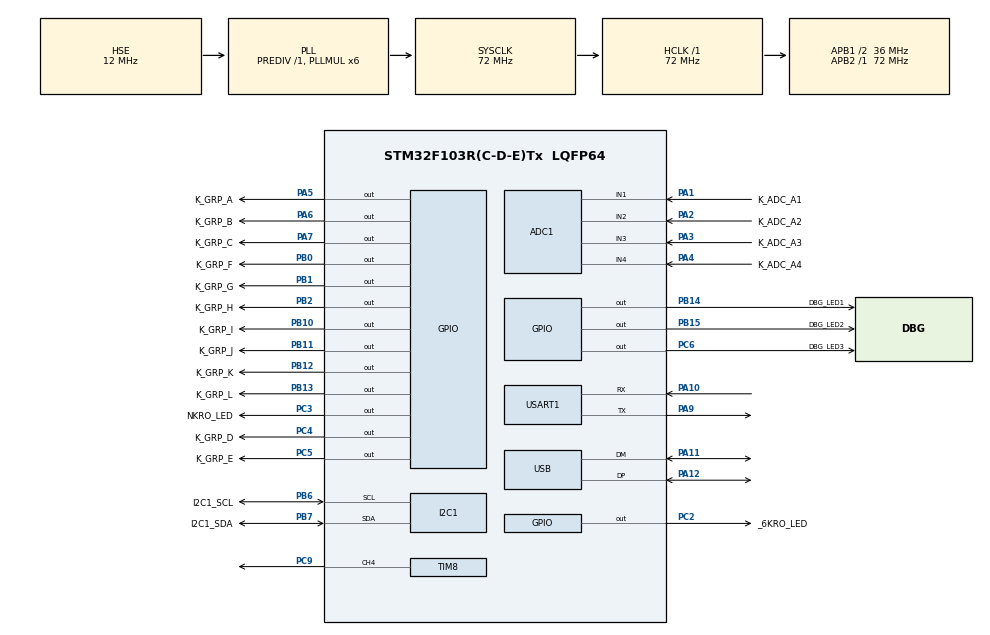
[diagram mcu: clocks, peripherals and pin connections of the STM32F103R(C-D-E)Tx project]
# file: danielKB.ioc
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ADC1.Channel-0\#ChannelRegularConversion=ADC_CHANNEL_1
ADC1.Channel-1\#ChannelRegularConversion=ADC_CHANNEL_2
ADC1.Channel-2\#ChannelRegularConversion=ADC_CHANNEL_3
ADC1.Channel-3\#ChannelRegularConversion=ADC_CHANNEL_4
ADC1.ContinuousConvMode=ENABLE
ADC1.NbrOfConversion=4
ADC1.NbrOfConversionFlag=1
ADC1.Rank-0\#ChannelRegularConversion=1
ADC1.Rank-1\#ChannelRegularConversion=2
ADC1.Rank-2\#ChannelRegularConversion=3
ADC1.Rank-3\#ChannelRegularConversion=4
ADC1.SamplingTime-0\#ChannelRegularConversion=ADC_SAMPLETIME_13CYCLES_5
ADC1.SamplingTime-1\#ChannelRegularConversion=ADC_SAMPLETIME_13CYCLES_5
ADC1.SamplingTime-2\#ChannelRegularConversion=ADC_SAMPLETIME_13CYCLES_5
ADC1.SamplingTime-3\#ChannelRegularConversion=ADC_SAMPLETIME_13CYCLES_5
ADC1.master=1
Dma.ADC1.0.Direction=DMA_PERIPH_TO_MEMORY
Dma.ADC1.0.Instance=DMA1_Channel1
Dma.ADC1.0.MemDataAlignment=DMA_MDATAALIGN_WORD
Dma.ADC1.0.MemInc=DMA_MINC_ENABLE
Dma.ADC1.0.Mode=DMA_CIRCULAR
Dma.ADC1.0.PeriphDataAlignment=DMA_PDATAALIGN_WORD
Dma.ADC1.0.PeriphInc=DMA_PINC_DISABLE
Dma.ADC1.0.Priority=DMA_PRIORITY_HIGH
Dma.Request0=ADC1
I2C1.I2C_Mode=I2C_Fast
Mcu.Family=STM32F1
Mcu.Name=STM32F103R(C-D-E)Tx
Mcu.Package=LQFP64
NVIC.ADC1_2_IRQn=true\:0\:0\:false\:false\:true\:true\:true\:true
NVIC.DMA1_Channel1_IRQn=true\:0\:0\:false\:false\:true\:false\:true\:true
NVIC.PriorityGroup=NVIC_PRIORITYGROUP_4
NVIC.TIM6_IRQn=true\:1\:0\:true\:false\:true\:false\:true\:true
NVIC.TIM7_IRQn=true\:0\:0\:false\:false\:true\:true\:true\:true
NVIC.TimeBase=TIM6_IRQn
NVIC.TimeBaseIP=TIM6
NVIC.USART1_IRQn=true\:2\:0\:true\:false\:true\:true\:true\:true
NVIC.USB_LP_CAN1_RX0_IRQn=true\:2\:0\:true\:false\:true\:false\:true\:true
PA1.GPIO_Label=K_ADC_A1
PA1.Signal=ADCx_IN1
PA10.Mode=Asynchronous
PA10.Signal=USART1_RX
PA11.Mode=Device
PA11.Signal=USB_DM
PA12.Mode=Device
PA12.Signal=USB_DP
PA13.Mode=Serial_Wire
PA13.Signal=SYS_JTMS-SWDIO
PA14.Mode=Serial_Wire
PA14.Signal=SYS_JTCK-SWCLK
PA2.GPIO_Label=K_ADC_A2
PA2.Signal=ADCx_IN2
PA3.GPIO_Label=K_ADC_A3
PA3.Signal=ADCx_IN3
PA4.GPIO_Label=K_ADC_A4
PA4.Signal=ADCx_IN4
PA5.GPIO_Label=K_GRP_A
PA5.Signal=GPIO_Output
PA6.GPIO_Label=K_GRP_B
PA6.Signal=GPIO_Output
PA7.GPIO_Label=K_GRP_C
PA7.Signal=GPIO_Output
PA9.Mode=Asynchronous
PA9.Signal=USART1_TX
PB0.GPIO_Label=K_GRP_F
PB0.Signal=GPIO_Output
PB1.GPIO_Label=K_GRP_G
PB1.Signal=GPIO_Output
PB10.GPIO_Label=K_GRP_I
PB10.Signal=GPIO_Output
PB11.GPIO_Label=K_GRP_J
PB11.Signal=GPIO_Output
PB12.GPIO_Label=K_GRP_K
PB12.Signal=GPIO_Output
PB13.GPIO_Label=K_GRP_L
PB13.Signal=GPIO_Output
PB14.GPIO_Label=DBG_LED1
PB14.Signal=GPIO_Output
PB15.GPIO_Label=DBG_LED2
PB15.Signal=GPIO_Output
PB2.GPIO_Label=K_GRP_H
PB2.Signal=GPIO_Output
PB6.GPIO_Label=I2C1_SCL
PB6.Mode=I2C
PB6.Signal=I2C1_SCL
PB7.GPIO_Label=I2C1_SDA
PB7.Mode=I2C
PB7.Signal=I2C1_SDA
PC2.GPIO_Label=_6KRO_LED
PC2.Signal=GPIO_Output
PC3.GPIO_Label=NKRO_LED
PC3.Signal=GPIO_Output
PC4.GPIO_Label=K_GRP_D
PC4.Signal=GPIO_Output
PC5.GPIO_Label=K_GRP_E
PC5.Signal=GPIO_Output
PC6.GPIO_Label=DBG_LED3
PC6.Signal=GPIO_Output
PC9.Signal=S_TIM8_CH4
PD0-OSC_IN.Mode=HSE-External-Oscillator
PD0-OSC_IN.Signal=RCC_OSC_IN
PD1-OSC_OUT.Mode=HSE-External-Oscillator
PD1-OSC_OUT.Signal=RCC_OSC_OUT
ProjectManager.HeapSize=0x200
ProjectManager.StackSize=0x400
ProjectManager.TargetToolchain=STM32CubeIDE
RCC.ADCPresc=RCC_ADCPCLK2_DIV6
RCC.AHBFreq_Value=72000000
RCC.APB1CLKDivider=RCC_HCLK_DIV2
RCC.APB1Freq_Value=36000000
RCC.APB1TimFreq_Value=72000000
RCC.APB2Freq_Value=72000000
RCC.APB2TimFreq_Value=72000000
RCC.HCLKFreq_Value=72000000
RCC.HSE_VALUE=12000000
RCC.PLLMUL=RCC_PLL_MUL6
RCC.SYSCLKFreq_VALUE=72000000
RCC.SYSCLKSource=RCC_SYSCLKSOURCE_PLLCLK
RCC.USBFreq_Value=48000000
RCC.USBPrescaler=RCC_USBCLKSOURCE_PLL_DIV1_5
SH.ADCx_IN1.0=ADC1_IN1,IN1
SH.ADCx_IN2.0=ADC1_IN2,IN2
SH.ADCx_IN3.0=ADC1_IN3,IN3
SH.ADCx_IN4.0=ADC1_IN4,IN4
SH.S_TIM8_CH4.0=TIM8_CH4,PWM Generation4 CH4
TIM7.Period=100-1
TIM7.Prescaler=720-1
TIM8.Channel-PWM\ Generation4\ CH4=TIM_CHANNEL_4
TIM8.Period=65535
TIM8.Prescaler=72-1
USART1.VirtualMode=VM_ASYNC
USB_DEVICE.CLASS_NAME_FS=HID
USB_DEVICE.MANUFACTURER_STRING=BWnG
USB_DEVICE.PRODUCT_STRING_HID_FS=danielKB
USB_DEVICE.VID=0xF055
USB_DEVICE.VirtualMode=Hid
USB_DEVICE.VirtualModeFS=Hid_FS
VP_SYS_VS_tim6.Mode=TIM6
VP_TIM7_VS_ClockSourceINT.Mode=Enable_Timer
VP_TIM8_VS_ClockSourceINT.Mode=Internal
VP_USB_DEVICE_VS_USB_DEVICE_HID_FS.Mode=HID_FS
board=custom

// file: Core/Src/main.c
/* USER CODE BEGIN Header */
/**
  ******************************************************************************
  * @file           : main.c
  * @brief          : Main program body
  ******************************************************************************
  * @attention
  *
  * Copyright (c) 2025 STMicroelectronics.
  * All rights reserved.
  *
  * This software is licensed under terms that can be found in the LICENSE file
  * in the root directory of this software component.
  * If no LICENSE file comes with this software, it is provided AS-IS.
  *
  ******************************************************************************
  */

 /*
  * Modified by Daniel Lee
  * Original code Copyright (c) STMicroelectronics
  * Licensed under SLA0044
  */

/* USER CODE END Header */
#include "main.h"
#include "usb_device.h"

/* USER CODE BEGIN Includes */
#include "mainProc.h"
/* USER CODE END Includes */

ADC_HandleTypeDef hadc1;
DMA_HandleTypeDef hdma_adc1;

I2C_HandleTypeDef hi2c1;

TIM_HandleTypeDef htim7;
TIM_HandleTypeDef htim8;

UART_HandleTypeDef huart1;

/* USER CODE BEGIN PV */
volatile uint32_t millisec = 0 ;
/* USER CODE END PV */

void SystemClock_Config(void);
static void MX_GPIO_Init(void);
static void MX_DMA_Init(void);
static void MX_ADC1_Init(void);
static void MX_USART1_UART_Init(void);
static void MX_TIM7_Init(void);
static void MX_TIM8_Init(void);
static void MX_I2C1_Init(void);

int main(void)
{

  /* MCU Configuration--------------------------------------------------------*/

  /* Reset of all peripherals, Initializes the Flash interface and the Systick. */
  HAL_Init();

  /* Configure the system clock */
  SystemClock_Config();

  /* USER CODE BEGIN SysInit */
#if 0
  /* USER CODE END SysInit */

  /* Initialize all configured peripherals */
  MX_GPIO_Init();
  MX_DMA_Init();
  MX_ADC1_Init();
  MX_USART1_UART_Init();
  MX_TIM7_Init();
  MX_USB_DEVICE_Init();
  MX_TIM8_Init();
  MX_I2C1_Init();
  /* USER CODE BEGIN 2 */
#endif
    MX_GPIO_Init() ;
	MX_DMA_Init() ;
	MX_ADC1_Init() ;
	MX_USART1_UART_Init() ;
	MX_TIM7_Init() ;
	MX_TIM8_Init() ;
	MX_I2C1_Init() ;
	MainProc() ;
#if 0
  /* USER CODE END 2 */

  /* Infinite loop */
  while (1)
  {

    /* USER CODE BEGIN 3 */
  }
#endif
  /* USER CODE END 3 */
}

void SystemClock_Config(void)
{
  RCC_OscInitTypeDef RCC_OscInitStruct = {0};
  RCC_ClkInitTypeDef RCC_ClkInitStruct = {0};
  RCC_PeriphCLKInitTypeDef PeriphClkInit = {0};

  /** Initializes the RCC Oscillators according to the specified parameters
  * in the RCC_OscInitTypeDef structure.
  */
  RCC_OscInitStruct.OscillatorType = RCC_OSCILLATORTYPE_HSE;
  RCC_OscInitStruct.HSEState = RCC_HSE_ON;
  RCC_OscInitStruct.HSEPredivValue = RCC_HSE_PREDIV_DIV1;
  RCC_OscInitStruct.HSIState = RCC_HSI_ON;
  RCC_OscInitStruct.PLL.PLLState = RCC_PLL_ON;
  RCC_OscInitStruct.PLL.PLLSource = RCC_PLLSOURCE_HSE;
  RCC_OscInitStruct.PLL.PLLMUL = RCC_PLL_MUL6;
  if (HAL_RCC_OscConfig(&RCC_OscInitStruct) != HAL_OK)
  {
    Error_Handler();
  }

  /** Initializes the CPU, AHB and APB buses clocks
  */
  RCC_ClkInitStruct.ClockType = RCC_CLOCKTYPE_HCLK|RCC_CLOCKTYPE_SYSCLK
                              |RCC_CLOCKTYPE_PCLK1|RCC_CLOCKTYPE_PCLK2;
  RCC_ClkInitStruct.SYSCLKSource = RCC_SYSCLKSOURCE_PLLCLK;
  RCC_ClkInitStruct.AHBCLKDivider = RCC_SYSCLK_DIV1;
  RCC_ClkInitStruct.APB1CLKDivider = RCC_HCLK_DIV2;
  RCC_ClkInitStruct.APB2CLKDivider = RCC_HCLK_DIV1;

  if (HAL_RCC_ClockConfig(&RCC_ClkInitStruct, FLASH_LATENCY_2) != HAL_OK)
  {
    Error_Handler();
  }
  PeriphClkInit.PeriphClockSelection = RCC_PERIPHCLK_ADC|RCC_PERIPHCLK_USB;
  PeriphClkInit.AdcClockSelection = RCC_ADCPCLK2_DIV6;
  PeriphClkInit.UsbClockSelection = RCC_USBCLKSOURCE_PLL_DIV1_5;
  if (HAL_RCCEx_PeriphCLKConfig(&PeriphClkInit) != HAL_OK)
  {
    Error_Handler();
  }
}

static void MX_ADC1_Init(void)
{

  ADC_ChannelConfTypeDef sConfig = {0};

  /** Common config
  */
  hadc1.Instance = ADC1;
  hadc1.Init.ScanConvMode = ADC_SCAN_ENABLE;
  hadc1.Init.ContinuousConvMode = ENABLE;
  hadc1.Init.DiscontinuousConvMode = DISABLE;
  hadc1.Init.ExternalTrigConv = ADC_SOFTWARE_START;
  hadc1.Init.DataAlign = ADC_DATAALIGN_RIGHT;
  hadc1.Init.NbrOfConversion = 4;
  if (HAL_ADC_Init(&hadc1) != HAL_OK)
  {
    Error_Handler();
  }

  /** Configure Regular Channel
  */
  sConfig.Channel = ADC_CHANNEL_1;
  sConfig.Rank = ADC_REGULAR_RANK_1;
  sConfig.SamplingTime = ADC_SAMPLETIME_13CYCLES_5;
  if (HAL_ADC_ConfigChannel(&hadc1, &sConfig) != HAL_OK)
  {
    Error_Handler();
  }

  /** Configure Regular Channel
  */
  sConfig.Channel = ADC_CHANNEL_2;
  sConfig.Rank = ADC_REGULAR_RANK_2;
  if (HAL_ADC_ConfigChannel(&hadc1, &sConfig) != HAL_OK)
  {
    Error_Handler();
  }

  /** Configure Regular Channel
  */
  sConfig.Channel = ADC_CHANNEL_3;
  sConfig.Rank = ADC_REGULAR_RANK_3;
  if (HAL_ADC_ConfigChannel(&hadc1, &sConfig) != HAL_OK)
  {
    Error_Handler();
  }

  /** Configure Regular Channel
  */
  sConfig.Channel = ADC_CHANNEL_4;
  sConfig.Rank = ADC_REGULAR_RANK_4;
  if (HAL_ADC_ConfigChannel(&hadc1, &sConfig) != HAL_OK)
  {
    Error_Handler();
  }

}

static void MX_I2C1_Init(void)
{

  hi2c1.Instance = I2C1;
  hi2c1.Init.ClockSpeed = 400000;
  hi2c1.Init.DutyCycle = I2C_DUTYCYCLE_2;
  hi2c1.Init.OwnAddress1 = 0;
  hi2c1.Init.AddressingMode = I2C_ADDRESSINGMODE_7BIT;
  hi2c1.Init.DualAddressMode = I2C_DUALADDRESS_DISABLE;
  hi2c1.Init.OwnAddress2 = 0;
  hi2c1.Init.GeneralCallMode = I2C_GENERALCALL_DISABLE;
  hi2c1.Init.NoStretchMode = I2C_NOSTRETCH_DISABLE;
  if (HAL_I2C_Init(&hi2c1) != HAL_OK)
  {
    Error_Handler();
  }

}

static void MX_TIM7_Init(void)
{

  TIM_MasterConfigTypeDef sMasterConfig = {0};

  htim7.Instance = TIM7;
  htim7.Init.Prescaler = 720-1;
  htim7.Init.CounterMode = TIM_COUNTERMODE_UP;
  htim7.Init.Period = 100-1;
  htim7.Init.AutoReloadPreload = TIM_AUTORELOAD_PRELOAD_DISABLE;
  if (HAL_TIM_Base_Init(&htim7) != HAL_OK)
  {
    Error_Handler();
  }
  sMasterConfig.MasterOutputTrigger = TIM_TRGO_RESET;
  sMasterConfig.MasterSlaveMode = TIM_MASTERSLAVEMODE_DISABLE;
  if (HAL_TIMEx_MasterConfigSynchronization(&htim7, &sMasterConfig) != HAL_OK)
  {
    Error_Handler();
  }

}

static void MX_TIM8_Init(void)
{

  TIM_ClockConfigTypeDef sClockSourceConfig = {0};
  TIM_MasterConfigTypeDef sMasterConfig = {0};
  TIM_OC_InitTypeDef sConfigOC = {0};
  TIM_BreakDeadTimeConfigTypeDef sBreakDeadTimeConfig = {0};

  htim8.Instance = TIM8;
  htim8.Init.Prescaler = 72-1;
  htim8.Init.CounterMode = TIM_COUNTERMODE_UP;
  htim8.Init.Period = 65535;
  htim8.Init.ClockDivision = TIM_CLOCKDIVISION_DIV1;
  htim8.Init.RepetitionCounter = 0;
  htim8.Init.AutoReloadPreload = TIM_AUTORELOAD_PRELOAD_DISABLE;
  if (HAL_TIM_Base_Init(&htim8) != HAL_OK)
  {
    Error_Handler();
  }
  sClockSourceConfig.ClockSource = TIM_CLOCKSOURCE_INTERNAL;
  if (HAL_TIM_ConfigClockSource(&htim8, &sClockSourceConfig) != HAL_OK)
  {
    Error_Handler();
  }
  if (HAL_TIM_PWM_Init(&htim8) != HAL_OK)
  {
    Error_Handler();
  }
  sMasterConfig.MasterOutputTrigger = TIM_TRGO_RESET;
  sMasterConfig.MasterSlaveMode = TIM_MASTERSLAVEMODE_DISABLE;
  if (HAL_TIMEx_MasterConfigSynchronization(&htim8, &sMasterConfig) != HAL_OK)
  {
    Error_Handler();
  }
  sConfigOC.OCMode = TIM_OCMODE_PWM1;
  sConfigOC.Pulse = 0;
  sConfigOC.OCPolarity = TIM_OCPOLARITY_HIGH;
  sConfigOC.OCFastMode = TIM_OCFAST_DISABLE;
  sConfigOC.OCIdleState = TIM_OCIDLESTATE_RESET;
  sConfigOC.OCNIdleState = TIM_OCNIDLESTATE_RESET;
  if (HAL_TIM_PWM_ConfigChannel(&htim8, &sConfigOC, TIM_CHANNEL_4) != HAL_OK)
  {
    Error_Handler();
  }
  sBreakDeadTimeConfig.OffStateRunMode = TIM_OSSR_DISABLE;
  sBreakDeadTimeConfig.OffStateIDLEMode = TIM_OSSI_DISABLE;
  sBreakDeadTimeConfig.LockLevel = TIM_LOCKLEVEL_OFF;
  sBreakDeadTimeConfig.DeadTime = 0;
  sBreakDeadTimeConfig.BreakState = TIM_BREAK_DISABLE;
  sBreakDeadTimeConfig.BreakPolarity = TIM_BREAKPOLARITY_HIGH;
  sBreakDeadTimeConfig.AutomaticOutput = TIM_AUTOMATICOUTPUT_DISABLE;
  if (HAL_TIMEx_ConfigBreakDeadTime(&htim8, &sBreakDeadTimeConfig) != HAL_OK)
  {
    Error_Handler();
  }
  HAL_TIM_MspPostInit(&htim8);

}

static void MX_USART1_UART_Init(void)
{

  huart1.Instance = USART1;
  huart1.Init.BaudRate = 115200;
  huart1.Init.WordLength = UART_WORDLENGTH_8B;
  huart1.Init.StopBits = UART_STOPBITS_1;
  huart1.Init.Parity = UART_PARITY_NONE;
  huart1.Init.Mode = UART_MODE_TX_RX;
  huart1.Init.HwFlowCtl = UART_HWCONTROL_NONE;
  huart1.Init.OverSampling = UART_OVERSAMPLING_16;
  if (HAL_UART_Init(&huart1) != HAL_OK)
  {
    Error_Handler();
  }

}

static void MX_DMA_Init(void)
{

  /* DMA controller clock enable */
  __HAL_RCC_DMA1_CLK_ENABLE();

  /* DMA interrupt init */
  /* DMA1_Channel1_IRQn interrupt configuration */
  HAL_NVIC_SetPriority(DMA1_Channel1_IRQn, 0, 0);
  HAL_NVIC_EnableIRQ(DMA1_Channel1_IRQn);

}

static void MX_GPIO_Init(void)
{
  GPIO_InitTypeDef GPIO_InitStruct = {0};

  /* GPIO Ports Clock Enable */
  __HAL_RCC_GPIOD_CLK_ENABLE();
  __HAL_RCC_GPIOC_CLK_ENABLE();
  __HAL_RCC_GPIOA_CLK_ENABLE();
  __HAL_RCC_GPIOB_CLK_ENABLE();

  /*Configure GPIO pin Output Level */
  HAL_GPIO_WritePin(GPIOC, _6KRO_LED_Pin|NKRO_LED_Pin|K_GRP_D_Pin|K_GRP_E_Pin
                          |DBG_LED3_Pin, GPIO_PIN_RESET);

  /*Configure GPIO pin Output Level */
  HAL_GPIO_WritePin(GPIOA, K_GRP_A_Pin|K_GRP_B_Pin|K_GRP_C_Pin, GPIO_PIN_RESET);

  /*Configure GPIO pin Output Level */
  HAL_GPIO_WritePin(GPIOB, K_GRP_F_Pin|K_GRP_G_Pin|K_GRP_H_Pin|K_GRP_I_Pin
                          |K_GRP_J_Pin|K_GRP_K_Pin|K_GRP_L_Pin|DBG_LED1_Pin
                          |DBG_LED2_Pin, GPIO_PIN_RESET);

  /*Configure GPIO pins : _6KRO_LED_Pin NKRO_LED_Pin K_GRP_D_Pin K_GRP_E_Pin
                           DBG_LED3_Pin */
  GPIO_InitStruct.Pin = _6KRO_LED_Pin|NKRO_LED_Pin|K_GRP_D_Pin|K_GRP_E_Pin
                          |DBG_LED3_Pin;
  GPIO_InitStruct.Mode = GPIO_MODE_OUTPUT_PP;
  GPIO_InitStruct.Pull = GPIO_NOPULL;
  GPIO_InitStruct.Speed = GPIO_SPEED_FREQ_LOW;
  HAL_GPIO_Init(GPIOC, &GPIO_InitStruct);

  /*Configure GPIO pins : K_GRP_A_Pin K_GRP_B_Pin K_GRP_C_Pin */
  GPIO_InitStruct.Pin = K_GRP_A_Pin|K_GRP_B_Pin|K_GRP_C_Pin;
  GPIO_InitStruct.Mode = GPIO_MODE_OUTPUT_PP;
  GPIO_InitStruct.Pull = GPIO_NOPULL;
  GPIO_InitStruct.Speed = GPIO_SPEED_FREQ_LOW;
  HAL_GPIO_Init(GPIOA, &GPIO_InitStruct);

  /*Configure GPIO pins : K_GRP_F_Pin K_GRP_G_Pin K_GRP_H_Pin K_GRP_I_Pin
                           K_GRP_J_Pin K_GRP_K_Pin K_GRP_L_Pin DBG_LED1_Pin
                           DBG_LED2_Pin */
  GPIO_InitStruct.Pin = K_GRP_F_Pin|K_GRP_G_Pin|K_GRP_H_Pin|K_GRP_I_Pin
                          |K_GRP_J_Pin|K_GRP_K_Pin|K_GRP_L_Pin|DBG_LED1_Pin
                          |DBG_LED2_Pin;
  GPIO_InitStruct.Mode = GPIO_MODE_OUTPUT_PP;
  GPIO_InitStruct.Pull = GPIO_NOPULL;
  GPIO_InitStruct.Speed = GPIO_SPEED_FREQ_LOW;
  HAL_GPIO_Init(GPIOB, &GPIO_InitStruct);

}

void HAL_TIM_PeriodElapsedCallback(TIM_HandleTypeDef *htim)
{
  if (htim->Instance == TIM6)
  {
    HAL_IncTick();
  }
  /* USER CODE BEGIN Callback 1 */
  if( htim->Instance == TIM7 )
  {
	  ++millisec ;
  }
  /* USER CODE END Callback 1 */
}

void Error_Handler(void)
{
  __disable_irq();
  while (1)
  {
  }
}
